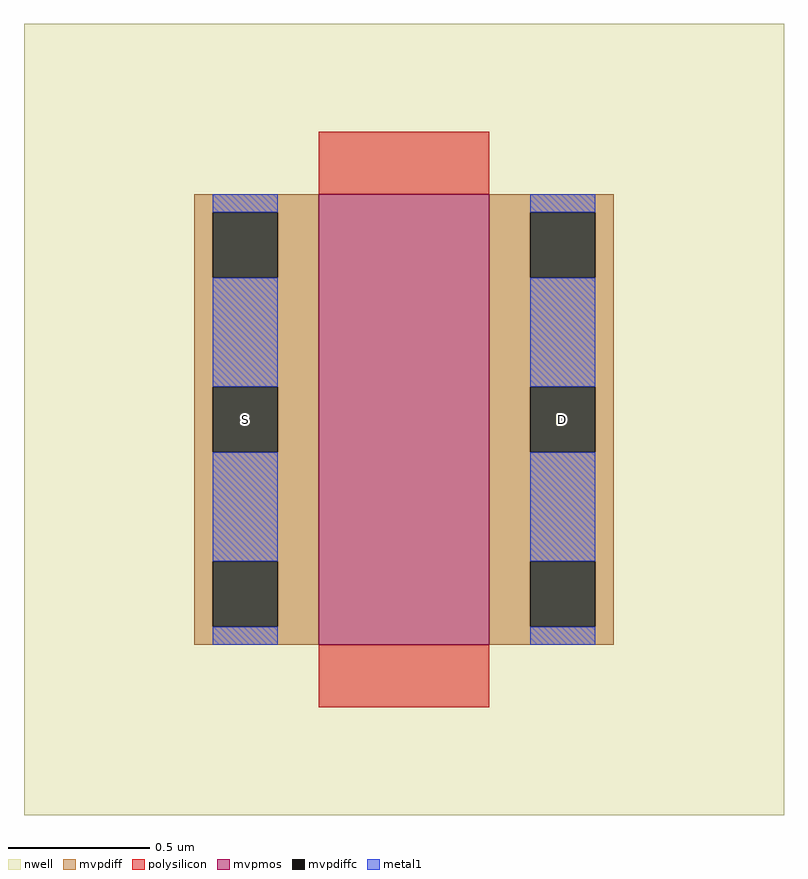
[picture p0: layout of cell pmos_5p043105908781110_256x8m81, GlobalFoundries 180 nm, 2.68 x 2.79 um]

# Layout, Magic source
magic
tech gf180mcuB
magscale 1 10
<< nwell >>
rect -208 -120 328 438
<< mvpmos >>
rect 0 0 120 318
<< mvpdiff >>
rect -88 305 0 318
rect -88 259 -75 305
rect -29 259 0 305
rect -88 182 0 259
rect -88 136 -75 182
rect -29 136 0 182
rect -88 59 0 136
rect -88 13 -75 59
rect -29 13 0 59
rect -88 0 0 13
rect 120 305 208 318
rect 120 259 149 305
rect 195 259 208 305
rect 120 182 208 259
rect 120 136 149 182
rect 195 136 208 182
rect 120 59 208 136
rect 120 13 149 59
rect 195 13 208 59
rect 120 0 208 13
<< mvpdiffc >>
rect -75 259 -29 305
rect -75 136 -29 182
rect -75 13 -29 59
rect 149 259 195 305
rect 149 136 195 182
rect 149 13 195 59
<< polysilicon >>
rect 0 318 120 362
rect 0 -44 120 0
<< metal1 >>
rect -75 305 -29 318
rect -75 182 -29 259
rect -75 59 -29 136
rect -75 0 -29 13
rect 149 305 195 318
rect 149 182 195 259
rect 149 59 195 136
rect 149 0 195 13
<< labels >>
flabel metal1 s -52 159 -52 159 0 FreeSans 400 0 0 0 S
flabel metal1 s 172 159 172 159 0 FreeSans 400 0 0 0 D
<< properties >>
string GDS_END 247298
string GDS_FILE $PDKPATH/libs.ref/gf180mcu_fd_ip_sram/gds/gf180mcu_fd_ip_sram__sram256x8m8wm1.gds
string GDS_START 245954
<< end >>
